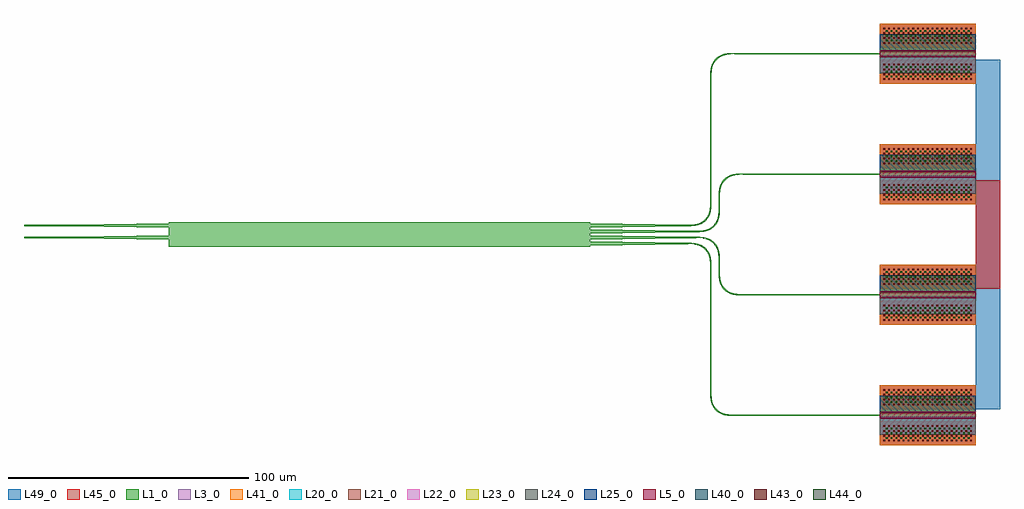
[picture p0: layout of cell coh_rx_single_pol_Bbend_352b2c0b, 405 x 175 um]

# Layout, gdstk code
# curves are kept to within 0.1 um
from math import pi, radians
import gdstk
lib = gdstk.Library(unit=1e-6, precision=1e-09)
def R(c, l, rs):  # rectangles x0, y0, x1, y1
    for r in rs: c.add(gdstk.rectangle(r[:2], r[2:], *l))
def P(c, l, *ps):  # polygons
    for p in ps: c.add(gdstk.Polygon(p, *l))
L1_0 = (1, 0)
L3_0 = (3, 0)
L5_0 = (5, 0)
L20_0 = (20, 0)
L21_0 = (21, 0)
L22_0 = (22, 0)
L23_0 = (23, 0)
L24_0 = (24, 0)
L25_0 = (25, 0)
L40_0 = (40, 0)
L41_0 = (41, 0)
L43_0 = (43, 0)
L44_0 = (44, 0)
L45_0 = (45, 0)
L49_0 = (49, 0)

mmi_90degree_hybrid_w0p_ = lib.new_cell('mmi_90degree_hybrid_W0p_80ee73a1')
P(mmi_90degree_hybrid_w0p_, L1_0, [(0,-5),(0,-2.1),(-40,-1.5),(-40,-1),(0,-0.4),(0,2.9),(-40,3.5),(-40,4),(0,4.6),(0,5),(175,5),(175,4.6),(215,4),(215,3.5),(175,2.9),(175,2.1),(215,1.5),(215,1),(175,0.4),(175,-0.4),(215,-1),(215,-1.5),(175,-2.1),(175,-2.9),(215,-3.5),(215,-4),(175,-4.6),(175,-5)])

straight_l20_n2_csstrip_ = lib.new_cell('straight_L20_N2_CSstrip_WNone')
R(straight_l20_n2_csstrip_, L1_0, [(0,-0.25,20,0.25)])

straight_l40_n2_cspn_ge_ = lib.new_cell('straight_L40_N2_CSpn_ge_a66790e3')
R(straight_l40_n2_cspn_ge_, L1_0, [(0,-3,40,3)])
R(straight_l40_n2_cspn_ge_, L5_0, [(0,-1.5,40,1.5)])
R(straight_l40_n2_cspn_ge_, L20_0, [(0,-8,40,-0.6)])
R(straight_l40_n2_cspn_ge_, L21_0, [(0,0.6,40,8)])
R(straight_l40_n2_cspn_ge_, L22_0, [(0,-8,40,-0.9)])
R(straight_l40_n2_cspn_ge_, L23_0, [(0,0.9,40,8)])
R(straight_l40_n2_cspn_ge_, L24_0, [(0,-8,40,-1.1)])
R(straight_l40_n2_cspn_ge_, L25_0, [(0,1.1,40,8)])

taper_l20_w0p5_w0p8_lno_ = lib.new_cell('taper_L20_W0p5_W0p8_LNo_b621feeb')
P(taper_l20_w0p5_w0p8_lno_, L1_0, [(20,-0.4),(0,-0.25),(0,0.25),(20,0.4)])

compass_s40_10_lslab90__ = lib.new_cell('compass_S40_10_LSLAB90__99a9a703')
R(compass_s40_10_lslab90__, L3_0, [(-20,-5,20,5)])

compass_s40_10_lm1_ptno_ = lib.new_cell('compass_S40_10_LM1_PTNo_b81ecc42')
R(compass_s40_10_lm1_ptno_, L41_0, [(-20,-5,20,5)])

compass_s40_10_lm2_ptno_ = lib.new_cell('compass_S40_10_LM2_PTNo_e387645f')
R(compass_s40_10_lm2_ptno_, L45_0, [(-20,-5,20,5)])

compass_s40_10_lmtop_pt_ = lib.new_cell('compass_S40_10_LMTOP_PT_d99eeb02')
R(compass_s40_10_lmtop_pt_, L49_0, [(-20,-5,20,5)])

via_s0p7_0p7_snone_gnon_ = lib.new_cell('via_S0p7_0p7_SNone_GNon_372ed4f2')
R(via_s0p7_0p7_snone_gnon_, L40_0, [(-0.35,-0.35,0.35,0.35)])

c_via_s0p7_0p7_snone_gnon_ = lib.new_cell('via_S0p7_0p7_SNone_GNon_c3f5c6aa')
R(c_via_s0p7_0p7_snone_gnon_, L44_0, [(-0.35,-0.35,0.35,0.35)])

c_via_s0p7_0p7_snone_gnon__ = lib.new_cell('via_S0p7_0p7_SNone_GNon_e14245b6')
R(c_via_s0p7_0p7_snone_gnon__, L43_0, [(-0.35,-0.35,0.35,0.35)])

via_stack_s40_10_lslab9_ = lib.new_cell('via_stack_S40_10_LSLAB9_7a3de302')
via_stack_s40_10_lslab9_.add(gdstk.Reference(compass_s40_10_lslab90__, (0,0)))
via_stack_s40_10_lslab9_.add(gdstk.Reference(compass_s40_10_lm1_ptno_, (0,0)))
via_stack_s40_10_lslab9_.add(gdstk.Reference(compass_s40_10_lm2_ptno_, (0,0)))
via_stack_s40_10_lslab9_.add(gdstk.Reference(compass_s40_10_lmtop_pt_, (0,0)))
r = gdstk.Reference(via_s0p7_0p7_snone_gnon_, (-18,-3)); r.repetition = gdstk.Repetition(19, 4, v1=(2,0), v2=(0,2)); via_stack_s40_10_lslab9_.add(r)
r = gdstk.Reference(c_via_s0p7_0p7_snone_gnon_, (-17,-2)); r.repetition = gdstk.Repetition(18, 3, v1=(2,0), v2=(0,2)); via_stack_s40_10_lslab9_.add(r)
r = gdstk.Reference(c_via_s0p7_0p7_snone_gnon__, (-18,-3)); r.repetition = gdstk.Repetition(19, 4, v1=(2,0), v2=(0,2)); via_stack_s40_10_lslab9_.add(r)

ge_detector_straight_si_ = lib.new_cell('ge_detector_straight_si_857c1c1e')
ge_detector_straight_si_.add(gdstk.Reference(straight_l40_n2_cspn_ge_, (0,0)))
ge_detector_straight_si_.add(gdstk.Reference(taper_l20_w0p5_w0p8_lno_, (-20,0)))
ge_detector_straight_si_.add(gdstk.Reference(via_stack_s40_10_lslab9_, (20,7.5)))
ge_detector_straight_si_.add(gdstk.Reference(via_stack_s40_10_lslab9_, (20,-7.5)))

bend_euler_r10_a90_p0p5_ = lib.new_cell('bend_euler_R10_A90_P0p5_f9fcb00b')
P(bend_euler_r10_a90_p0p5_, L1_0, [(0,-0.25),(0,0.25),(2.881,0.353),(3.952,0.52),(4.99,0.806),(6.431,1.505),(7.575,2.425),(8.495,3.569),(9.194,5.01),(9.48,6.048),(9.647,7.119),(9.75,10),(10.25,10),(10.158,7.205),(9.797,5.254),(9.457,4.312),(9.066,3.545),(8.5,2.715),(7.928,2.072),(7.285,1.5),(6.455,0.934),(5.688,0.543),(4.746,0.203),(2.795,-0.158)])

straight_l51p25_n2_csstr = lib.new_cell('straight_L51p25_N2_CSstrip_WNone')
R(straight_l51p25_n2_csstr, L1_0, [(0,-0.25,51.25,0.25)])

straight_l40_n2_csstrip_ = lib.new_cell('straight_L40_N2_CSstrip_WNone')
R(straight_l40_n2_csstrip_, L1_0, [(0,-0.25,40,0.25)])

straight_l3p5_n2_csstrip = lib.new_cell('straight_L3p5_N2_CSstrip_WNone')
R(straight_l3p5_n2_csstrip, L1_0, [(0,-0.25,3.5,0.25)])

straight_l3p75_n2_csstri = lib.new_cell('straight_L3p75_N2_CSstrip_WNone')
R(straight_l3p75_n2_csstri, L1_0, [(0,-0.25,3.75,0.25)])

straight_l36p5_n2_csstri = lib.new_cell('straight_L36p5_N2_CSstrip_WNone')
R(straight_l36p5_n2_csstri, L1_0, [(0,-0.25,36.5,0.25)])

coh_rx_single_pol_bbend_ = lib.new_cell('coh_rx_single_pol_Bbend_352b2c0b')
P(coh_rx_single_pol_bbend_, L45_0, [(335,-22.5),(335,-12.5),(335,-12.5),(335,12.5),(335,12.5),(335,22.5),(345,22.5),(345,-22.5)])
P(coh_rx_single_pol_bbend_, L49_0, [(335,-72.5),(335,-62.5),(335,-62.5),(335,62.5),(335,62.5),(335,72.5),(345,72.5),(345,-72.5)])
coh_rx_single_pol_bbend_.add(gdstk.Reference(mmi_90degree_hybrid_w0p_, (0,0)))
coh_rx_single_pol_bbend_.add(gdstk.Reference(straight_l20_n2_csstrip_, (-60,3.75)))
coh_rx_single_pol_bbend_.add(gdstk.Reference(straight_l20_n2_csstrip_, (-60,-1.25)))
coh_rx_single_pol_bbend_.add(gdstk.Reference(ge_detector_straight_si_, (295,75)))
coh_rx_single_pol_bbend_.add(gdstk.Reference(ge_detector_straight_si_, (295,-75)))
coh_rx_single_pol_bbend_.add(gdstk.Reference(ge_detector_straight_si_, (295,25)))
coh_rx_single_pol_bbend_.add(gdstk.Reference(ge_detector_straight_si_, (295,-25)))
coh_rx_single_pol_bbend_.add(gdstk.Reference(bend_euler_r10_a90_p0p5_, (225,-13.75), rotation=pi/2))
coh_rx_single_pol_bbend_.add(gdstk.Reference(bend_euler_r10_a90_p0p5_, (235,-75), rotation=pi, x_reflection=True))
coh_rx_single_pol_bbend_.add(gdstk.Reference(straight_l51p25_n2_csstr, (225,-65), rotation=pi/2))
coh_rx_single_pol_bbend_.add(gdstk.Reference(straight_l40_n2_csstrip_, (235,-75)))
coh_rx_single_pol_bbend_.add(gdstk.Reference(bend_euler_r10_a90_p0p5_, (228.5,-11.25), rotation=pi/2))
coh_rx_single_pol_bbend_.add(gdstk.Reference(straight_l3p5_n2_csstrip, (218.5,-1.25), rotation=pi))
coh_rx_single_pol_bbend_.add(gdstk.Reference(bend_euler_r10_a90_p0p5_, (238.5,-25), rotation=pi, x_reflection=True))
coh_rx_single_pol_bbend_.add(gdstk.Reference(straight_l3p75_n2_csstri, (228.5,-15), rotation=pi/2))
coh_rx_single_pol_bbend_.add(gdstk.Reference(straight_l36p5_n2_csstri, (238.5,-25)))
coh_rx_single_pol_bbend_.add(gdstk.Reference(bend_euler_r10_a90_p0p5_, (228.5,11.25), rotation=3*pi/2, x_reflection=True))
coh_rx_single_pol_bbend_.add(gdstk.Reference(straight_l3p5_n2_csstrip, (218.5,1.25), rotation=pi))
coh_rx_single_pol_bbend_.add(gdstk.Reference(bend_euler_r10_a90_p0p5_, (238.5,25), rotation=pi))
coh_rx_single_pol_bbend_.add(gdstk.Reference(straight_l3p75_n2_csstri, (228.5,15), rotation=3*pi/2))
coh_rx_single_pol_bbend_.add(gdstk.Reference(straight_l36p5_n2_csstri, (238.5,25)))
coh_rx_single_pol_bbend_.add(gdstk.Reference(bend_euler_r10_a90_p0p5_, (225,13.75), rotation=3*pi/2, x_reflection=True))
coh_rx_single_pol_bbend_.add(gdstk.Reference(bend_euler_r10_a90_p0p5_, (235,75), rotation=pi))
coh_rx_single_pol_bbend_.add(gdstk.Reference(straight_l51p25_n2_csstr, (225,65), rotation=3*pi/2))
coh_rx_single_pol_bbend_.add(gdstk.Reference(straight_l40_n2_csstrip_, (235,75)))

lib.write_gds('coh_rx_single_pol_Bbend_352b2c0b.gds')
